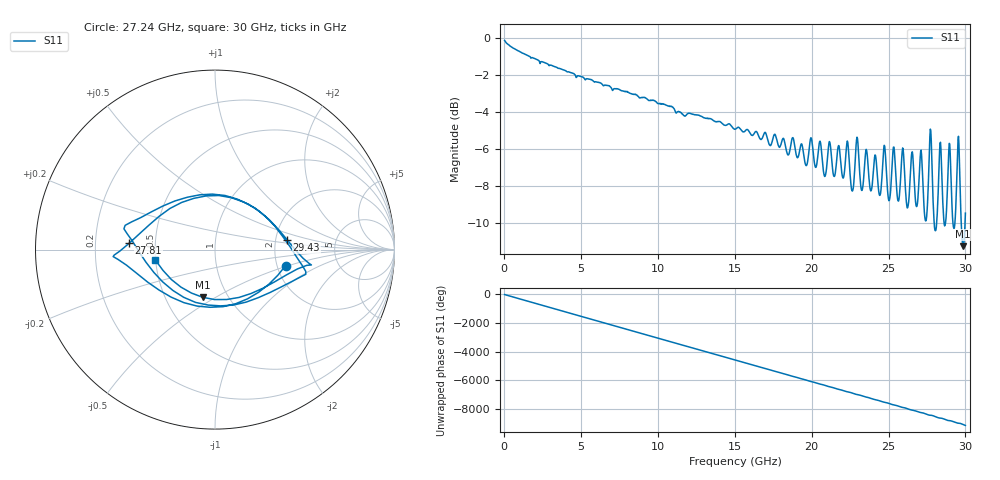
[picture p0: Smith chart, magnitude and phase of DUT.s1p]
# Hz S RI R 50
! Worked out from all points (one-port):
!   1000 points, 30 MHz to 30 GHz, reference 50 ohm
!   lowest |S11| = -11.2 dB at 29.85 GHz (marker M1), VSWR 1.76, Z = 38.1 - j21.9 ohm
!   |S11| at or under -10 dB: 27.97 GHz to 28.13 GHz (154.5 MHz wide, 0.551 % of centre); 29.19231 GHz to 29.31442 GHz (122.1 MHz wide, 0.417 % of centre); 29.73 GHz to 29.98 GHz (244.5 MHz wide, 0.819 % of centre)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
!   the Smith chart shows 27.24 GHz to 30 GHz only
!   S11 on the Smith chart (normalised r, x): 27.24 GHz: 2.23, -0.47; 27.81 GHz: 0.35, +0.03; 29.43 GHz: 2.32, +0.30; 30 GHz: 0.50, -0.07
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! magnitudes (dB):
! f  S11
! 30 MHz  -0.1
! 3.78 GHz  -1.7
! 7.53 GHz  -2.8
! 11.28 GHz  -4.0
! 15.03 GHz  -4.9
! 18.78 GHz  -5.4
! 22.53 GHz  -7.7
! 22.95 GHz  -5.3
! 24.42 GHz  -8.5
! 24.72 GHz  -5.8
! 25.05 GHz  -8.8
! 25.35 GHz  -5.9
! 25.65 GHz  -8.8
! 25.92 GHz  -5.9
! 26.28 GHz  -9.0
! 26.52 GHz  -6.2
! 27.24 GHz  -7.9
! 27.42 GHz  -9.9
! 27.81 GHz  -6.4
! 28.05 GHz  -10.4
! 28.35 GHz  -5.7
! 28.65 GHz  -10.1
! 28.95 GHz  -5.7
! 29.25 GHz  -10.3
! 29.43 GHz  -7.8
! 29.58 GHz  -5.7
! 29.85 GHz  -11.2
! 30 GHz  -9.4
